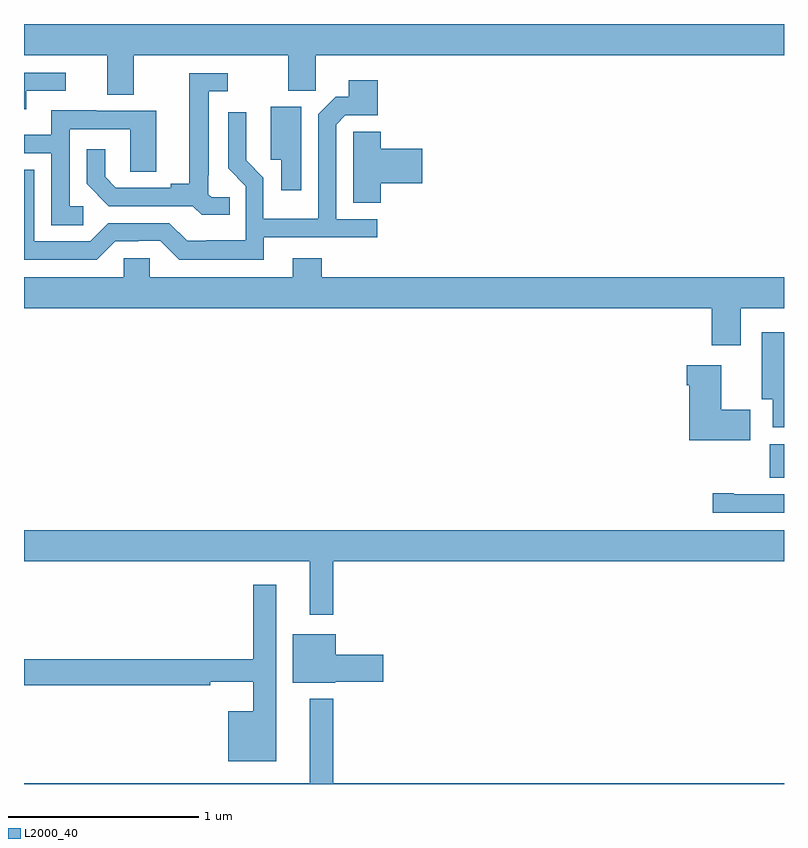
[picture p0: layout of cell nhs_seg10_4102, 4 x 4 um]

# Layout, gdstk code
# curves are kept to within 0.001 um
import gdstk
lib = gdstk.Library(unit=1e-6, precision=1e-09)
def R(c, l, rs):  # rectangles x0, y0, x1, y1
    for r in rs: c.add(gdstk.rectangle(r[:2], r[2:], *l))
def P(c, l, *ps):  # polygons
    for p in ps: c.add(gdstk.Polygon(p, *l))
L2000_40 = (2000, 40)

nhs_seg10_4102 = lib.new_cell('nhs_seg10_4102')
R(nhs_seg10_4102, L2000_40, [(342.926,1278.113,343,1278.288)])
P(nhs_seg10_4102, L2000_40, [(339.577,1280.336),(340.39,1280.336),(340.39,1280.149),(340.536,1280.149),(340.536,1280.336),(343,1280.336),(343,1280.5),(339,1280.5),(339,1280.336),(339.437,1280.336),(339.437,1280.128),(339.577,1280.128)],
  [(339.013,1280.148),(339.22,1280.148),(339.22,1280.244),(339,1280.244),(339,1280.051),(339.013,1280.051)],
  [(340.082,1279.587),(339.987,1279.587),(339.969,1279.605),(339.969,1279.705),(339.973,1279.705),(339.973,1280.145),(340.072,1280.145),(340.072,1280.241),(339.869,1280.241),(339.869,1279.658),(339.773,1279.658),(339.773,1279.638),(339.484,1279.638),(339.427,1279.695),(339.427,1279.84),(339.33,1279.84),(339.33,1279.658),(339.446,1279.542),(339.888,1279.542),(339.936,1279.495),(340.082,1279.495)],
  [(340.261,1279.377),(340.858,1279.377),(340.858,1279.473),(340.644,1279.473),(340.644,1279.971),(340.692,1280.019),(340.862,1280.019),(340.862,1280.203),(340.709,1280.203),(340.709,1280.118),(340.641,1280.118),(340.548,1280.025),(340.548,1279.474),(340.26,1279.474),(340.26,1279.69),(340.169,1279.782),(340.17,1280.035),(340.074,1280.035),(340.074,1279.74),(340.167,1279.647),(340.167,1279.363),(339.958,1279.363),(339.958,1279.359),(339.858,1279.359),(339.765,1279.452),(339.444,1279.452),(339.348,1279.356),(339.054,1279.356),(339.054,1279.732),(339,1279.732),(339,1279.26),(339.384,1279.26),(339.48,1279.356),(339.6,1279.356),(339.6,1279.359),(339.717,1279.359),(339.817,1279.259),(340.261,1279.259)],
  [(340.459,1280.064),(340.298,1280.064),(340.298,1279.785),(340.355,1279.785),(340.355,1279.626),(340.459,1279.626)],
  [(339.313,1279.542),(339.24,1279.542),(339.24,1279.947),(339.558,1279.947),(339.558,1279.723),(339.697,1279.723),(339.697,1280.043),(339.379,1280.043),(339.379,1280.047),(339.143,1280.047),(339.143,1279.918),(339,1279.918),(339,1279.821),(339.144,1279.821),(339.144,1279.441),(339.313,1279.441)],
  [(340.877,1279.661),(341.095,1279.661),(341.095,1279.844),(340.877,1279.844),(340.877,1279.934),(340.734,1279.934),(340.734,1279.826),(340.733,1279.826),(340.733,1279.558),(340.877,1279.558)],
  [(342.772,1279.004),(343,1279.004),(343,1279.168),(340.568,1279.168),(340.568,1279.267),(340.415,1279.267),(340.415,1279.168),(339.663,1279.168),(339.663,1279.266),(339.525,1279.266),(339.525,1279.168),(339,1279.168),(339,1279.004),(342.62,1279.004),(342.62,1278.81),(342.772,1278.81)],
  [(343,1278.877),(342.884,1278.877),(342.884,1278.524),(342.941,1278.524),(342.941,1278.377),(343,1278.377)],
  [(342.823,1278.471),(342.67,1278.471),(342.67,1278.703),(342.488,1278.703),(342.488,1278.599),(342.5,1278.599),(342.5,1278.308),(342.823,1278.308)],
  [(343,1278.024),(342.736,1278.024),(342.736,1278.029),(342.624,1278.029),(342.624,1277.928),(343,1277.928)],
  [(340.627,1277.672),(343,1277.672),(343,1277.836),(339,1277.836),(339,1277.672),(340.505,1277.672),(340.505,1277.391),(340.627,1277.391)],
  [(340.327,1277.548),(340.206,1277.548),(340.206,1277.156),(339,1277.156),(339,1277.02),(339.98,1277.02),(339.98,1277.039),(340.206,1277.039),(340.206,1276.882),(340.076,1276.882),(340.076,1276.619),(340.327,1276.619)],
  [(340.638,1277.039),(340.891,1277.039),(340.891,1277.181),(340.642,1277.181),(340.642,1277.287),(340.415,1277.287),(340.415,1277.033),(340.638,1277.033)],
  [(343,1276.504),(340.627,1276.504),(340.627,1276.948),(340.505,1276.948),(340.505,1276.504),(339,1276.504),(339,1276.5),(343,1276.5)])

lib.write_gds('nhs_seg10_4102.gds')
